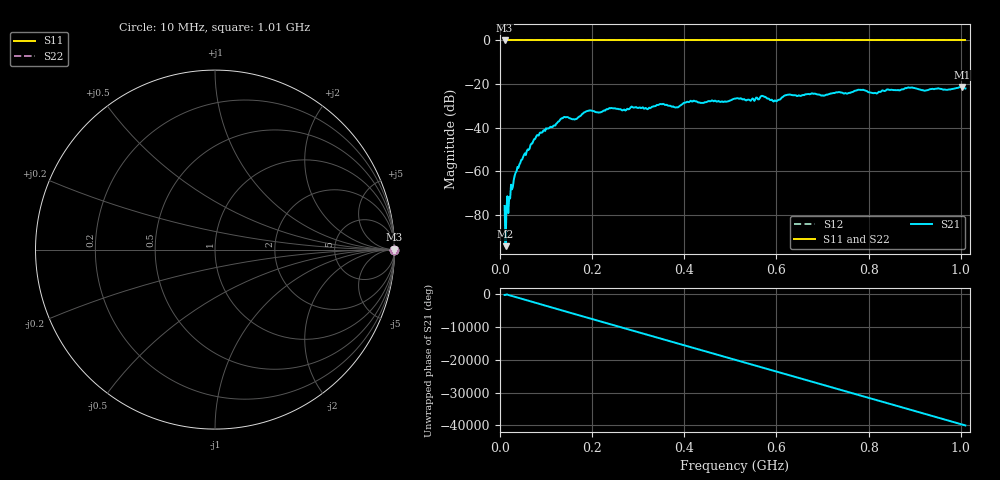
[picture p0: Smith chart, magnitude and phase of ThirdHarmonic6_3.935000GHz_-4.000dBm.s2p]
! 8/17/2025 1:54:55 PM
! C:\ANRITSUVNA\TEMP\TEMP.S2P
! CHANNEL.1
! TR.MEASUREMENT
! RAW.DATA
! RF.CORRECTION.OFF
! AVERAGING.OFF
! IF.BANDWIDTH: 5KHZ
! SWEEPTYPE:  FREQ.SWEEP(Linear)
! Reference Plane Port Info
! PORT:  PORT1  PORT2
! DISTANCE:  0  m  0  m
! TIME:  0  s  0  s
! PHASE.OFFSET:  0  deg.  0  deg.
! LOSS:  0  dB  0  dB
! REF.LOSS:  0  dB  0  dB
! REF.FREQ:  0  Hz  0  Hz
! Power Info
! POWER:  -20  dBm  -20  dBm
! EFF.POWER:  -20  dBm  -20  dBm
! SOURCE.ATTEN:  0  dB  0  dB
! TEST.ATTEN:  0  dB  0  dB
# GHZ S RI R 50.0
! FREQ.GHZ  S11RE  S11IM  S21RE  S21IM  S12RE  S12IM  S22RE  S22IM
!; PortSelection: Port_12
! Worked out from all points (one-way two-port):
!   501 points, 10 MHz to 1.01 GHz, reference 50 ohm
!   highest |S21| = -21.30 dB at 1.002 GHz (marker M1); lowest = -94.3 dB at 12 MHz (marker M2)
!   lowest |S11| = 0.0 dB at 10 MHz (marker M3)
!   |S11| at or under -10 dB: nowhere
!   |S22| runs from 0.0 to 0.0 dB; largest |S21 - S12| = 1.1
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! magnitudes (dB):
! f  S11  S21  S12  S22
! 10 MHz  0.0  -75.9  0.0  0.0
! 12 MHz  0.0  -94.3  0.0  0.0
! 16 MHz  0.0  -71.4  0.0  0.0
! 38 MHz  0.0  -58.0  0.0  0.0
! 78 MHz  0.0  -44.4  0.0  0.0
! 136 MHz  0.0  -35.7  0.0  0.0
! 162 MHz  0.0  -36.2  0.0  0.0
! 178 MHz  0.0  -33.8  0.0  0.0
! 194 MHz  0.0  -32.1  0.0  0.0
! 322 MHz  0.0  -31.3  0.0  0.0
! 344 MHz  0.0  -29.5  0.0  0.0
! 384 MHz  0.0  -30.6  0.0  0.0
! 416 MHz  0.0  -27.9  0.0  0.0
! 510 MHz  0.0  -26.7  0.0  0.0
! 570 MHz  0.0  -25.4  0.0  0.0
! 596 MHz  0.0  -27.5  0.0  0.0
! 624 MHz  0.0  -24.9  0.0  0.0
! 678 MHz  0.0  -24.3  0.0  0.0
! 814 MHz  0.0  -24.0  0.0  0.0
! 844 MHz  0.0  -22.6  0.0  0.0
! 1.002 GHz  0.0  -21.3  0.0  0.0
! 1.01 GHz  0.0  -22.0  0.0  0.0
